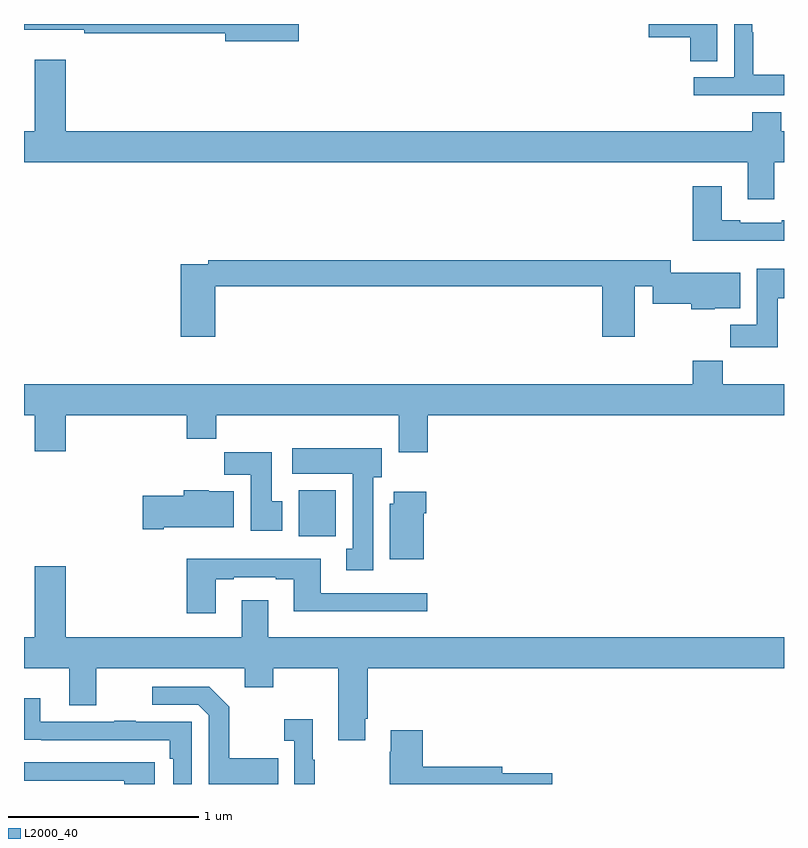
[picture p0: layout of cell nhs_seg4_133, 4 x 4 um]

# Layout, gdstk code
import gdstk
lib = gdstk.Library(unit=1e-6, precision=1e-09)
def R(c, l, rs):  # rectangles x0, y0, x1, y1
    for r in rs: c.add(gdstk.rectangle(r[:2], r[2:], *l))
def P(c, l, *ps):  # polygons
    for p in ps: c.add(gdstk.Polygon(p, *l))
L2000_40 = (2000, 40)

nhs_seg4_133 = lib.new_cell('nhs_seg4_133')
R(nhs_seg4_133, L2000_40, [(118.445,776.204,118.642,776.446)])
P(nhs_seg4_133, L2000_40, [(118.447,778.9),(117,778.9),(117,778.871),(117.316,778.871),(117.316,778.852),(118.058,778.852),(118.058,778.81),(118.447,778.81)],
  [(121,778.633),(120.837,778.633),(120.837,778.856),(120.834,778.856),(120.834,778.9),(120.738,778.9),(120.738,778.62),(120.525,778.62),(120.525,778.524),(121,778.524)],
  [(120.649,778.9),(120.288,778.9),(120.288,778.829),(120.506,778.829),(120.506,778.705),(120.649,778.705)],
  [(120.949,778.172),(121,778.172),(121,778.336),(120.985,778.336),(120.985,778.435),(120.833,778.435),(120.833,778.336),(117.22,778.336),(117.22,778.711),(117.056,778.711),(117.056,778.336),(117,778.336),(117,778.172),(120.809,778.172),(120.809,777.978),(120.949,777.978)],
  [(121,777.868),(120.989,777.868),(120.989,777.855),(120.769,777.855),(120.769,777.868),(120.673,777.868),(120.673,778.045),(120.521,778.045),(120.521,777.758),(121,777.758)],
  [(118.007,777.52),(120.044,777.52),(120.044,777.255),(120.214,777.255),(120.214,777.52),(120.309,777.52),(120.309,777.428),(120.511,777.428),(120.511,777.398),(120.636,777.398),(120.636,777.404),(120.769,777.404),(120.769,777.592),(120.405,777.592),(120.405,777.656),(117.97,777.656),(117.97,777.636),(117.824,777.636),(117.824,777.255),(118.007,777.255)],
  [(120.967,777.457),(121,777.457),(121,777.613),(120.857,777.613),(120.857,777.316),(120.718,777.316),(120.718,777.198),(120.967,777.198)],
  [(119.126,776.84),(121,776.84),(121,777.004),(120.677,777.004),(120.677,777.128),(120.521,777.128),(120.521,777.004),(117,777.004),(117,776.84),(117.056,776.84),(117.056,776.652),(117.22,776.652),(117.22,776.84),(117.857,776.84),(117.857,776.716),(118.013,776.716),(118.013,776.84),(118.973,776.84),(118.973,776.646),(119.126,776.646)],
  [(118.837,776.514),(118.882,776.514),(118.882,776.668),(118.413,776.668),(118.413,776.534),(118.73,776.534),(118.73,776.138),(118.697,776.138),(118.697,776.025),(118.837,776.025)],
  [(118.36,776.388),(118.303,776.388),(118.303,776.647),(118.054,776.647),(118.054,776.528),(118.193,776.528),(118.193,776.232),(118.36,776.232)],
  [(117.736,776.252),(118.105,776.252),(118.105,776.44),(117.972,776.44),(117.972,776.446),(117.842,776.446),(117.842,776.418),(117.624,776.418),(117.624,776.24),(117.736,776.24)],
  [(119.104,776.324),(119.117,776.324),(119.117,776.437),(118.946,776.437),(118.946,776.376),(118.925,776.376),(118.925,776.084),(119.104,776.084)],
  [(118.009,775.977),(118.105,775.977),(118.105,775.989),(118.325,775.989),(118.325,775.977),(118.421,775.977),(118.421,775.808),(119.122,775.808),(119.122,775.905),(118.561,775.905),(118.561,776.086),(117.857,776.086),(117.857,775.8),(118.009,775.8)],
  [(118.795,775.243),(118.808,775.243),(118.808,775.508),(121,775.508),(121,775.672),(118.285,775.672),(118.285,775.867),(118.145,775.867),(118.145,775.672),(117.22,775.672),(117.22,776.047),(117.056,776.047),(117.056,775.672),(117,775.672),(117,775.508),(117.239,775.508),(117.239,775.314),(117.379,775.314),(117.379,775.508),(118.163,775.508),(118.163,775.409),(118.311,775.409),(118.311,775.508),(118.655,775.508),(118.655,775.131),(118.795,775.131)],
  [(118.337,775.035),(118.081,775.035),(118.081,775.307),(117.975,775.413),(117.675,775.413),(117.675,775.317),(117.918,775.317),(117.972,775.263),(117.972,774.9),(118.337,774.9)],
  [(117.882,775.227),(117.587,775.227),(117.587,775.232),(117.475,775.232),(117.475,775.227),(117.085,775.227),(117.085,775.351),(117,775.351),(117,775.132),(117.091,775.132),(117.091,775.131),(117.766,775.131),(117.766,775.034),(117.786,775.034),(117.786,774.9),(117.882,774.9)],
  [(118.531,775.027),(118.519,775.027),(118.519,775.24),(118.371,775.24),(118.371,775.127),(118.422,775.127),(118.422,774.9),(118.531,774.9)],
  [(119.779,774.956),(119.518,774.956),(119.518,774.992),(119.099,774.992),(119.099,775.183),(118.931,775.183),(118.931,775.07),(118.924,775.07),(118.924,774.9),(119.779,774.9)],
  [(117.688,775.014),(117,775.014),(117,774.918),(117.527,774.918),(117.527,774.9),(117.688,774.9)])

lib.write_gds('nhs_seg4_133.gds')
